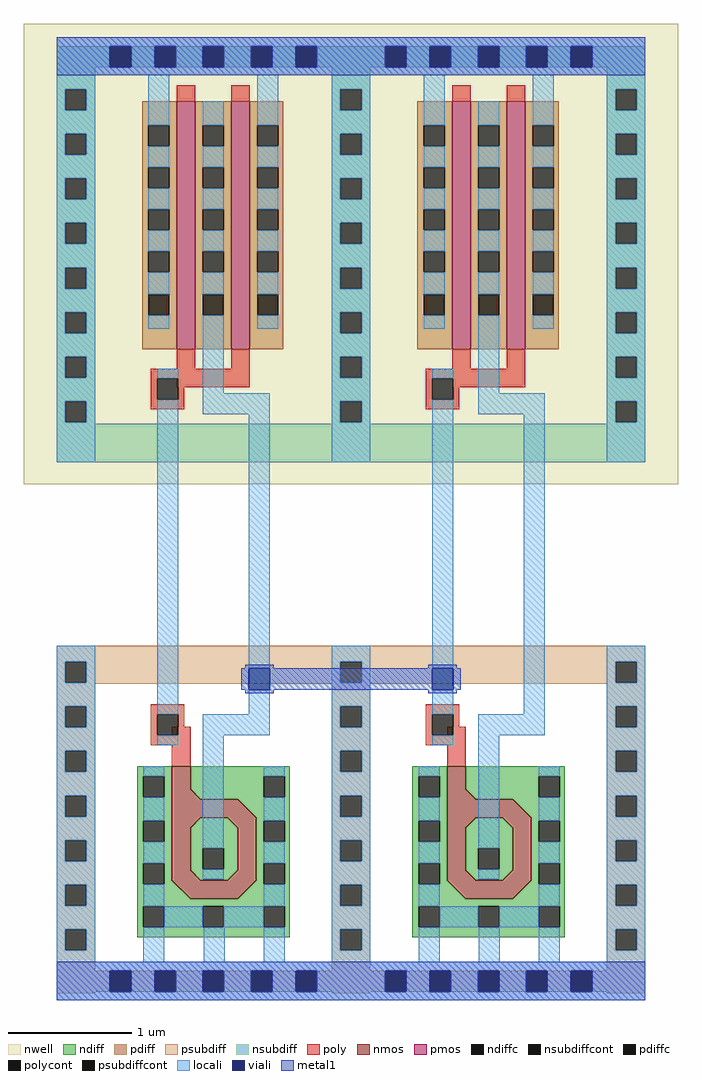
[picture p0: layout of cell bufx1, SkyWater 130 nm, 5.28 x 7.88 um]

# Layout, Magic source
magic
tech sky130A
magscale 1 2
<< metal1 >>
rect 315 501 569 535
use li1_M1_contact  li1_M1_contact_1
transform 1 0 592 0 1 518
box -53 -33 29 33
use li1_M1_contact  li1_M1_contact_0
transform -1 0 296 0 -1 518
box -53 -33 29 33
use invx1_pcell  invx1_pcell_1
transform 1 0 444 0 1 0
box -84 0 528 1575
use invx1_pcell  invx1_pcell_0
transform 1 0 0 0 1 0
box -84 0 528 1575
<< end >>

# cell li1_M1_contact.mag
magic
tech sky130
magscale 1 2
<< locali >>
rect -17 17 17 33
rect -17 -33 17 -17
<< viali >>
rect -17 -17 17 17
<< metal1 >>
rect -23 17 23 23
rect -53 -17 -17 17
rect 17 -17 29 17
rect -23 -23 23 -17
<< end >>

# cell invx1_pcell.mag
magic
tech sky130A
magscale 1 2
<< nwell >>
rect 84 1539 360 1575
rect 55 1505 360 1539
rect 84 832 360 1505
<< pdiffc >>
rect 117 1105 151 1139
rect 205 1105 239 1139
rect 293 1105 327 1139
<< psubdiff >>
rect 31 510 413 572
rect 31 13 55 47
rect 89 13 127 47
rect 161 13 205 47
rect 239 13 283 47
rect 317 13 355 47
rect 389 13 413 47
<< nsubdiff >>
rect 31 1505 55 1539
rect 89 1505 127 1539
rect 161 1505 205 1539
rect 239 1505 283 1539
rect 317 1505 355 1539
rect 389 1505 413 1539
rect 31 868 413 930
<< psubdiffcont >>
rect 55 13 89 47
rect 127 13 161 47
rect 205 13 239 47
rect 283 13 317 47
rect 355 13 389 47
<< nsubdiffcont >>
rect 55 1505 89 1539
rect 127 1505 161 1539
rect 205 1505 239 1539
rect 283 1505 317 1539
rect 355 1505 389 1539
<< poly >>
rect 155 409 185 441
<< locali >>
rect 31 1539 413 1554
rect 31 1505 55 1539
rect 89 1505 127 1539
rect 161 1505 205 1539
rect 239 1505 283 1539
rect 317 1505 355 1539
rect 389 1505 413 1539
rect 31 1492 413 1505
rect 117 1139 151 1157
rect 117 1083 151 1105
rect 205 1139 239 1157
rect 205 979 239 1105
rect 293 1139 327 1157
rect 293 1083 327 1105
rect 131 477 165 954
rect 205 945 313 979
rect 279 461 313 945
rect 205 427 313 461
rect 205 261 239 427
rect 109 62 143 101
rect 206 62 240 117
rect 303 62 337 101
rect 31 47 413 62
rect 31 13 55 47
rect 89 13 127 47
rect 161 13 205 47
rect 239 13 283 47
rect 317 13 355 47
rect 389 13 413 47
rect 31 0 413 13
<< viali >>
rect 55 1505 89 1539
rect 127 1505 161 1539
rect 205 1505 239 1539
rect 283 1505 317 1539
rect 355 1505 389 1539
rect 55 13 89 47
rect 127 13 161 47
rect 205 13 239 47
rect 283 13 317 47
rect 355 13 389 47
<< metal1 >>
rect 31 1539 413 1554
rect 31 1505 55 1539
rect 89 1505 127 1539
rect 161 1505 205 1539
rect 239 1505 283 1539
rect 317 1505 355 1539
rect 389 1505 413 1539
rect 31 1492 413 1505
rect 31 47 413 62
rect 31 13 55 47
rect 89 13 127 47
rect 161 13 205 47
rect 239 13 283 47
rect 317 13 355 47
rect 389 13 413 47
rect 31 0 413 13
use nmos_top  nmos_top_0
transform -1 0 345 0 1 101
box 0 0 246 308
use poly_li1_contact  poly_li1_contact_0
transform 0 1 149 -1 0 987
box -32 -28 34 26
use poly_li1_contact  poly_li1_contact_1
transform 0 -1 147 1 0 443
box -32 -28 34 26
use pmos2  pmos2_0
transform 1 0 19 0 1 1450
box 52 -461 352 42
use diff_ring_side  diff_ring_side_1
transform 1 0 0 0 1 0
box -84 0 84 1575
use diff_ring_side  diff_ring_side_0
transform 1 0 444 0 1 0
box -84 0 84 1575
<< end >>

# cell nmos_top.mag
magic
tech sky130A
magscale 1 2
<< nmos >>
tri 144 223 160 239 se
rect 160 223 190 276
tri 54 193 84 223 se
rect 84 193 190 223
rect 54 92 84 193
tri 84 177 100 193 nw
tri 144 177 160 193 ne
tri 84 92 100 108 sw
tri 144 92 160 108 se
rect 160 92 190 193
tri 54 62 84 92 ne
rect 84 62 160 92
tri 160 62 190 92 nw
<< ndiff >>
rect 0 260 160 276
rect 0 226 8 260
rect 42 239 160 260
rect 42 226 144 239
rect 0 223 144 226
tri 144 223 160 239 nw
rect 190 260 246 276
rect 190 226 202 260
rect 236 226 246 260
rect 0 188 54 223
tri 54 193 84 223 nw
rect 0 154 8 188
rect 42 154 54 188
rect 0 120 54 154
rect 0 86 8 120
rect 42 86 54 120
tri 84 177 100 193 se
rect 100 177 144 193
tri 144 177 160 193 sw
rect 84 144 160 177
rect 84 110 106 144
rect 140 110 160 144
rect 84 108 160 110
tri 84 92 100 108 ne
rect 100 92 144 108
tri 144 92 160 108 nw
rect 190 188 246 226
rect 190 154 202 188
rect 236 154 246 188
rect 190 120 246 154
rect 0 62 54 86
tri 54 62 84 92 sw
tri 160 62 190 92 se
rect 190 86 202 120
rect 236 86 246 120
rect 190 62 246 86
rect 0 50 246 62
rect 0 16 8 50
rect 42 16 106 50
rect 140 16 202 50
rect 236 16 246 50
rect 0 0 246 16
<< ndiffc >>
rect 8 226 42 260
rect 202 226 236 260
rect 8 154 42 188
rect 8 86 42 120
rect 106 110 140 144
rect 202 154 236 188
rect 202 86 236 120
rect 8 16 42 50
rect 106 16 140 50
rect 202 16 236 50
<< poly >>
rect 160 276 190 308
<< locali >>
rect 8 260 42 276
rect 8 188 42 226
rect 202 260 236 276
rect 202 188 236 226
rect 8 120 42 154
rect 106 144 140 161
rect 106 94 140 110
rect 202 120 236 154
rect 8 50 42 86
rect 202 50 236 86
rect 42 16 106 50
rect 140 16 202 50
rect 8 0 42 16
rect 202 0 236 16
<< end >>

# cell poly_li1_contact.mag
magic
tech sky130A
<< poly >>
rect -16 8 17 13
rect -16 -9 -8 8
rect 9 -9 17 8
rect -16 -14 17 -9
<< polycont >>
rect -8 -9 9 8
<< locali >>
rect -16 -9 -8 8
rect 9 -9 17 8
<< end >>

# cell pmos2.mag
magic
tech sky130
magscale 1 2
<< nwell >>
rect 52 -436 352 36
<< pmos >>
rect 144 -400 174 0
rect 232 -400 262 0
<< pdiff >>
rect 88 -38 144 0
rect 88 -72 98 -38
rect 132 -72 144 -38
rect 88 -106 144 -72
rect 88 -140 98 -106
rect 132 -140 144 -106
rect 88 -174 144 -140
rect 88 -208 98 -174
rect 132 -208 144 -174
rect 88 -242 144 -208
rect 88 -276 98 -242
rect 132 -276 144 -242
rect 88 -400 144 -276
rect 174 -38 232 0
rect 174 -72 186 -38
rect 220 -72 232 -38
rect 174 -106 232 -72
rect 174 -140 186 -106
rect 220 -140 232 -106
rect 174 -174 232 -140
rect 174 -208 186 -174
rect 220 -208 232 -174
rect 174 -242 232 -208
rect 174 -276 186 -242
rect 220 -276 232 -242
rect 174 -400 232 -276
rect 262 -38 316 0
rect 262 -72 274 -38
rect 308 -72 316 -38
rect 262 -106 316 -72
rect 262 -140 274 -106
rect 308 -140 316 -106
rect 262 -174 316 -140
rect 262 -208 274 -174
rect 308 -208 316 -174
rect 262 -242 316 -208
rect 262 -276 274 -242
rect 308 -276 316 -242
rect 262 -400 316 -276
<< pdiffc >>
rect 98 -72 132 -38
rect 98 -140 132 -106
rect 98 -208 132 -174
rect 98 -276 132 -242
rect 186 -72 220 -38
rect 186 -140 220 -106
rect 186 -208 220 -174
rect 186 -276 220 -242
rect 274 -72 308 -38
rect 274 -140 308 -106
rect 274 -208 308 -174
rect 274 -276 308 -242
<< poly >>
rect 144 0 174 26
rect 232 0 262 26
rect 144 -431 174 -400
rect 232 -431 262 -400
rect 144 -461 262 -431
<< locali >>
rect 98 -38 132 42
rect 98 -106 132 -72
rect 98 -174 132 -140
rect 98 -242 132 -208
rect 98 -293 132 -276
rect 186 -38 220 0
rect 186 -106 220 -72
rect 186 -174 220 -140
rect 186 -242 220 -208
rect 186 -293 220 -276
rect 274 -38 308 42
rect 274 -106 308 -72
rect 274 -174 308 -140
rect 274 -242 308 -208
rect 274 -293 308 -276
<< end >>

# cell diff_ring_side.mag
magic
tech sky130A
magscale 1 2
<< nwell >>
rect -84 832 84 1575
<< psubdiff >>
rect -31 546 31 572
rect -31 512 -17 546
rect 17 512 31 546
rect -31 474 31 512
rect -31 440 -17 474
rect 17 440 31 474
rect -31 402 31 440
rect -31 368 -17 402
rect 17 368 31 402
rect -31 330 31 368
rect -31 296 -17 330
rect 17 296 31 330
rect -31 258 31 296
rect -31 224 -17 258
rect 17 224 31 258
rect -31 186 31 224
rect -31 152 -17 186
rect 17 152 31 186
rect -31 114 31 152
rect -31 80 -17 114
rect 17 80 31 114
rect -31 11 31 80
<< nsubdiff >>
rect -31 1470 31 1539
rect -31 1436 -17 1470
rect 17 1436 31 1470
rect -31 1398 31 1436
rect -31 1364 -17 1398
rect 17 1364 31 1398
rect -31 1326 31 1364
rect -31 1292 -17 1326
rect 17 1292 31 1326
rect -31 1254 31 1292
rect -31 1220 -17 1254
rect 17 1220 31 1254
rect -31 1182 31 1220
rect -31 1148 -17 1182
rect 17 1148 31 1182
rect -31 1110 31 1148
rect -31 1076 -17 1110
rect 17 1076 31 1110
rect -31 1038 31 1076
rect -31 1004 -17 1038
rect 17 1004 31 1038
rect -31 966 31 1004
rect -31 932 -17 966
rect 17 932 31 966
rect -31 868 31 932
<< psubdiffcont >>
rect -17 512 17 546
rect -17 440 17 474
rect -17 368 17 402
rect -17 296 17 330
rect -17 224 17 258
rect -17 152 17 186
rect -17 80 17 114
<< nsubdiffcont >>
rect -17 1436 17 1470
rect -17 1364 17 1398
rect -17 1292 17 1326
rect -17 1220 17 1254
rect -17 1148 17 1182
rect -17 1076 17 1110
rect -17 1004 17 1038
rect -17 932 17 966
<< locali >>
rect -31 1470 31 1554
rect -31 1436 -17 1470
rect 17 1436 31 1470
rect -31 1398 31 1436
rect -31 1364 -17 1398
rect 17 1364 31 1398
rect -31 1326 31 1364
rect -31 1292 -17 1326
rect 17 1292 31 1326
rect -31 1254 31 1292
rect -31 1220 -17 1254
rect 17 1220 31 1254
rect -31 1182 31 1220
rect -31 1148 -17 1182
rect 17 1148 31 1182
rect -31 1110 31 1148
rect -31 1076 -17 1110
rect 17 1076 31 1110
rect -31 1038 31 1076
rect -31 1004 -17 1038
rect 17 1004 31 1038
rect -31 966 31 1004
rect -31 932 -17 966
rect 17 932 31 966
rect -31 868 31 932
rect -31 546 31 572
rect -31 512 -17 546
rect 17 512 31 546
rect -31 474 31 512
rect -31 440 -17 474
rect 17 440 31 474
rect -31 402 31 440
rect -31 368 -17 402
rect 17 368 31 402
rect -31 330 31 368
rect -31 296 -17 330
rect 17 296 31 330
rect -31 258 31 296
rect -31 224 -17 258
rect 17 224 31 258
rect -31 186 31 224
rect -31 152 -17 186
rect 17 152 31 186
rect -31 114 31 152
rect -31 80 -17 114
rect 17 80 31 114
rect -31 0 31 80
<< metal1 >>
rect -31 1492 31 1554
rect -31 0 31 62
<< end >>
